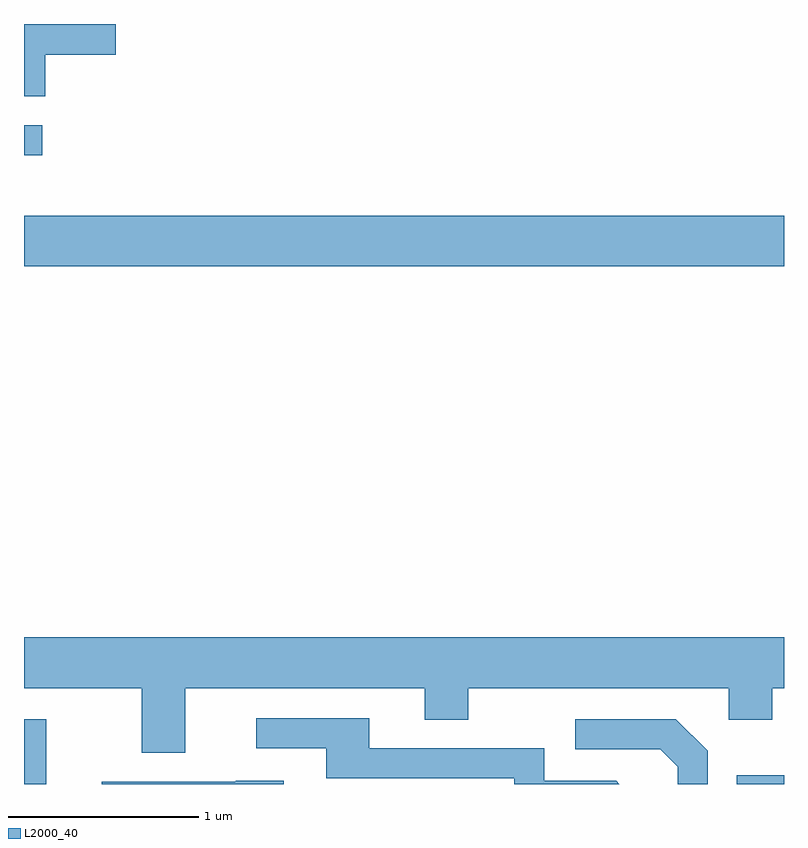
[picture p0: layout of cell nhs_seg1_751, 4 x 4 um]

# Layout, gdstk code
import gdstk
lib = gdstk.Library(unit=1e-6, precision=1e-09)
def R(c, l, rs):  # rectangles x0, y0, x1, y1
    for r in rs: c.add(gdstk.rectangle(r[:2], r[2:], *l))
def P(c, l, *ps):  # polygons
    for p in ps: c.add(gdstk.Polygon(p, *l))
L2000_40 = (2000, 40)

nhs_seg1_751 = lib.new_cell('nhs_seg1_751')
R(nhs_seg1_751, L2000_40, [(207.611,925.712,207.729,926.054), (211.361,925.712,211.611,925.759), (207.611,928.436,211.611,928.704), (207.611,929.021,207.708,929.179)])
P(nhs_seg1_751, L2000_40, [(207.724,929.551),(208.094,929.551),(208.094,929.712),(207.611,929.712),(207.611,929.331),(207.724,929.331)],
  [(208.459,926.216),(209.721,926.216),(209.721,926.051),(209.949,926.051),(209.949,926.216),(211.321,926.216),(211.321,926.051),(211.549,926.051),(211.549,926.216),(211.611,926.216),(211.611,926.484),(207.611,926.484),(207.611,926.216),(208.231,926.216),(208.231,925.876),(208.459,925.876)],
  [(210.727,925.729),(210.349,925.729),(210.349,925.899),(209.429,925.899),(209.429,926.059),(208.833,926.059),(208.833,925.901),(209.201,925.901),(209.201,925.741),(210.191,925.741),(210.191,925.712),(210.744,925.712)],
  [(211.209,925.887),(211.042,926.054),(210.513,926.054),(210.513,925.896),(210.959,925.896),(211.051,925.804),(211.051,925.712),(211.209,925.712)],
  [(208.979,925.729),(208.725,925.729),(208.725,925.724),(208.021,925.724),(208.021,925.712),(208.979,925.712)])

lib.write_gds('nhs_seg1_751.gds')
